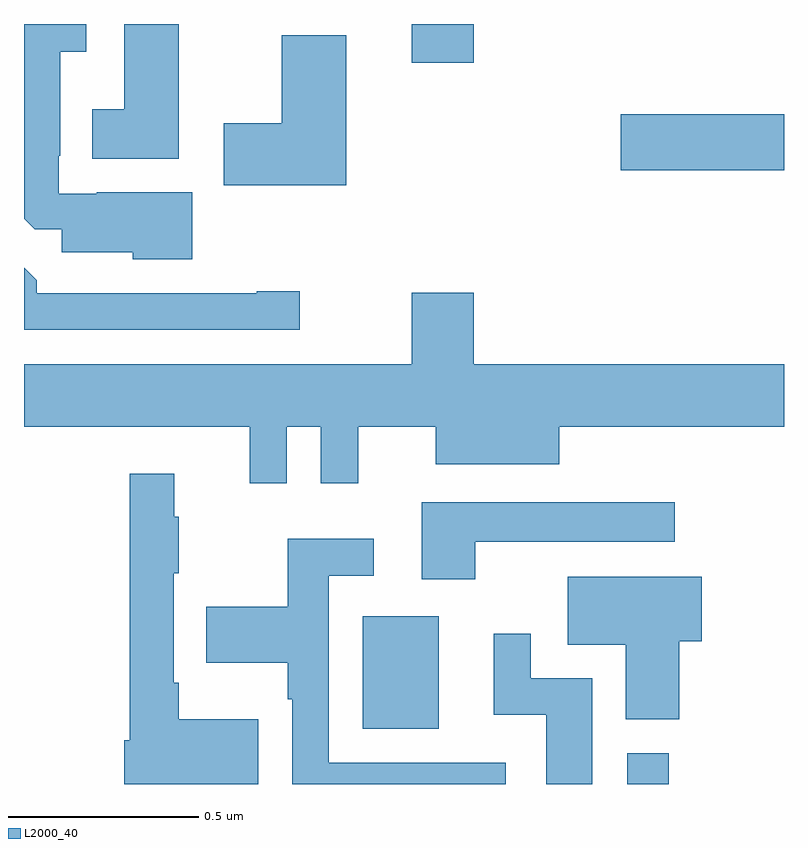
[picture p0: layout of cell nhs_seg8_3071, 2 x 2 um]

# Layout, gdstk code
import gdstk
lib = gdstk.Library(unit=1e-6, precision=1e-09)
def R(c, l, rs):  # rectangles x0, y0, x1, y1
    for r in rs: c.add(gdstk.rectangle(r[:2], r[2:], *l))
def P(c, l, *ps):  # polygons
    for p in ps: c.add(gdstk.Polygon(p, *l))
L2000_40 = (2000, 40)

nhs_seg8_3071 = lib.new_cell('nhs_seg8_3071')
R(nhs_seg8_3071, L2000_40, [(153.588,1108.9,153.697,1108.981), (152.891,1109.045,153.091,1109.341), (153.57,1110.515,154,1110.662), (153.02,1110.798,153.184,1110.9)])
P(nhs_seg8_3071, L2000_40, [(152.407,1110.9),(152.264,1110.9),(152.264,1110.676),(152.18,1110.676),(152.18,1110.545),(152.407,1110.545)],
  [(152.443,1110.457),(152.191,1110.457),(152.191,1110.453),(152.091,1110.453),(152.091,1110.553),(152.095,1110.553),(152.095,1110.827),(152.164,1110.827),(152.164,1110.9),(152,1110.9),(152,1110.388),(152.028,1110.36),(152.099,1110.36),(152.099,1110.299),(152.286,1110.299),(152.286,1110.281),(152.443,1110.281)],
  [(152.848,1110.871),(152.678,1110.871),(152.678,1110.639),(152.526,1110.639),(152.526,1110.476),(152.848,1110.476)],
  [(152.725,1110.197),(152.612,1110.197),(152.612,1110.192),(152.033,1110.192),(152.033,1110.226),(152,1110.259),(152,1110.096),(152.725,1110.096)],
  [(152.691,1109.84),(152.781,1109.84),(152.781,1109.691),(152.879,1109.691),(152.879,1109.84),(153.083,1109.84),(153.083,1109.741),(153.409,1109.741),(153.409,1109.84),(154,1109.84),(154,1110.004),(153.184,1110.004),(153.184,1110.193),(153.02,1110.193),(153.02,1110.004),(152,1110.004),(152,1109.84),(152.594,1109.84),(152.594,1109.691),(152.691,1109.691)],
  [(152.617,1109.071),(152.407,1109.071),(152.407,1109.167),(152.394,1109.167),(152.394,1109.455),(152.407,1109.455),(152.407,1109.603),(152.396,1109.603),(152.396,1109.716),(152.278,1109.716),(152.278,1109.015),(152.264,1109.015),(152.264,1108.9),(152.617,1108.9)],
  [(153.187,1109.537),(153.712,1109.537),(153.712,1109.641),(153.047,1109.641),(153.047,1109.439),(153.187,1109.439)],
  [(153.268,1108.956),(152.802,1108.956),(152.802,1109.448),(152.92,1109.448),(152.92,1109.545),(152.694,1109.545),(152.694,1109.367),(152.479,1109.367),(152.479,1109.219),(152.694,1109.219),(152.694,1109.123),(152.706,1109.123),(152.706,1108.9),(153.268,1108.9)],
  [(153.724,1109.276),(153.784,1109.276),(153.784,1109.446),(153.431,1109.446),(153.431,1109.267),(153.584,1109.267),(153.584,1109.07),(153.724,1109.07)],
  [(153.496,1109.178),(153.333,1109.178),(153.333,1109.296),(153.236,1109.296),(153.236,1109.082),(153.374,1109.082),(153.374,1108.9),(153.496,1108.9)])

lib.write_gds('nhs_seg8_3071.gds')
